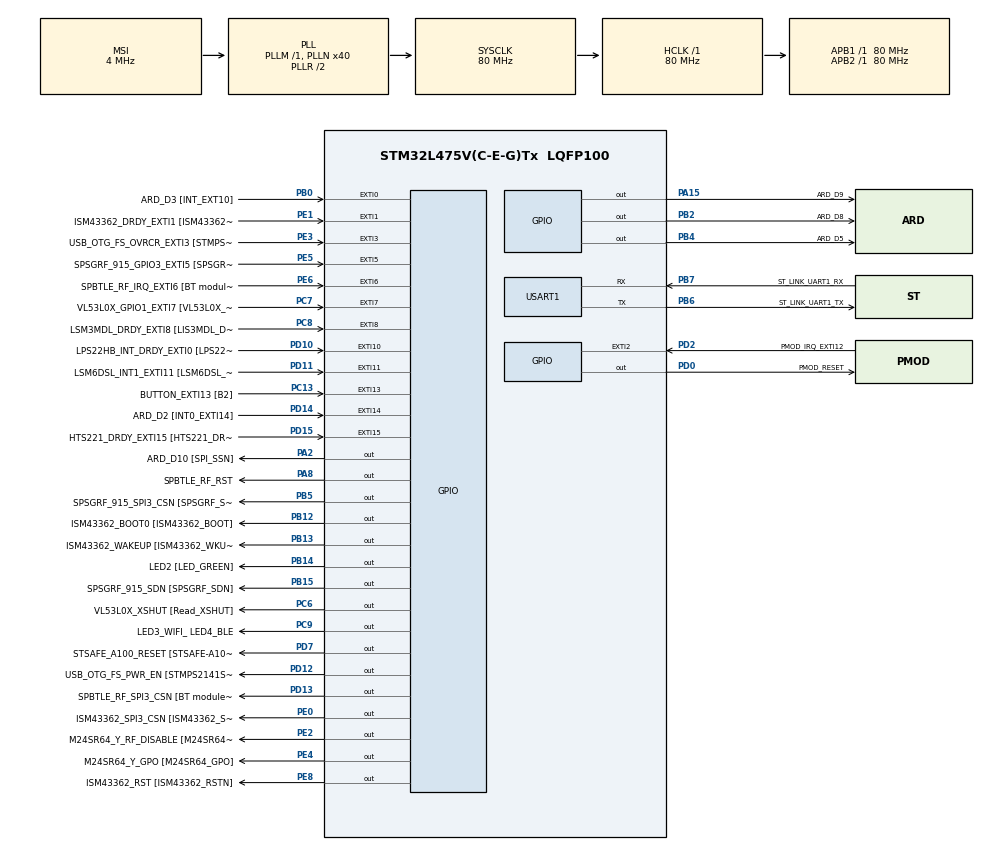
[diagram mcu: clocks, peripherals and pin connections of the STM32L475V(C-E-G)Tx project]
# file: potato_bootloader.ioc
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Mcu.Family=STM32L4
Mcu.Name=STM32L475V(C-E-G)Tx
Mcu.Package=LQFP100
NVIC.EXTI15_10_IRQn=true\:0\:0\:false\:false\:true\:true\:true
NVIC.EXTI9_5_IRQn=true\:0\:0\:false\:false\:true\:true\:true
NVIC.PriorityGroup=NVIC_PRIORITYGROUP_4
PA0.GPIO_Label=ARD_D1 [UART4_TX]
PA0.Signal=UART4_TX
PA1.GPIO_Label=ARD_D0 [UART4_RX]
PA1.Signal=UART4_RX
PA10.GPIO_Label=USB_OTG_FS_ID
PA10.Signal=USB_OTG_FS_ID
PA11.GPIO_Label=USB_OTG_FS_DM
PA11.Signal=USB_OTG_FS_DM
PA12.GPIO_Label=USB_OTG_FS_DP
PA12.Signal=USB_OTG_FS_DP
PA13\ (JTMS-SWDIO).GPIO_Label=SYS_JTMS_SWDIO
PA13\ (JTMS-SWDIO).Signal=SYS_JTMS-SWDIO
PA14\ (JTCK-SWCLK).GPIO_Label=SYS_JTCK_SWCLK
PA14\ (JTCK-SWCLK).Signal=SYS_JTCK-SWCLK
PA15\ (JTDI).GPIO_Label=ARD_D9
PA15\ (JTDI).Signal=GPIO_Output
PA2.GPIO_Label=ARD_D10 [SPI_SSN]
PA2.Signal=GPIO_Output
PA3.GPIO_Label=ARD_D4
PA3.Signal=S_TIM2_CH4
PA4.GPIO_Label=ARD_D7
PA4.Signal=ADCx_IN9
PA5.GPIO_Label=ARD_D13 [SPI1_SCK]
PA5.Signal=SPI1_SCK
PA6.GPIO_Label=ARD_D12 [SPI1_MISO]
PA6.Signal=SPI1_MISO
PA7.GPIO_Label=ARD_D11 [SPI1_MOSI]
PA7.Signal=SPI1_MOSI
PA8.GPIO_Label=SPBTLE_RF_RST
PA8.Signal=GPIO_Output
PA9.GPIO_Label=USB_OTG_FS_VBUS [STMPS2141STR_OUT]
PA9.Signal=USB_OTG_FS_VBUS
PB0.GPIO_Label=ARD_D3 [INT_EXT10]
PB0.Signal=GPXTI0
PB1.GPIO_Label=ARD_D6 [ADC1_IN6]
PB1.Signal=ADCx_IN16
PB10.GPIO_Label=INTERNAL_I2C2_SCL [VL53L0X_SCL]
PB10.Signal=I2C2_SCL
PB11.GPIO_Label=INTERNAL_I2C2_SDA [VL53L0X_SDA]
PB11.Signal=I2C2_SDA
PB12.GPIO_Label=ISM43362_BOOT0 [ISM43362_BOOT]
PB12.Signal=GPIO_Output
PB13.GPIO_Label=ISM43362_WAKEUP [ISM43362_WKUP]
PB13.Signal=GPIO_Output
PB14.GPIO_Label=LED2 [LED_GREEN]
PB14.Signal=GPIO_Output
PB15.GPIO_Label=SPSGRF_915_SDN [SPSGRF_SDN]
PB15.Signal=GPIO_Output
PB2.GPIO_Label=ARD_D8
PB2.Signal=GPIO_Output
PB3\ (JTDO-TRACESWO).GPIO_Label=SYS_JTD0_SWO
PB3\ (JTDO-TRACESWO).Signal=SYS_JTDO-SWO
PB4\ (NJTRST).GPIO_Label=ARD_D5
PB4\ (NJTRST).Signal=GPIO_Output
PB5.GPIO_Label=SPSGRF_915_SPI3_CSN [SPSGRF_SPI_CS]
PB5.PinState=GPIO_PIN_SET
PB5.Signal=GPIO_Output
PB6.GPIO_Label=ST_LINK_UART1_TX
PB6.Mode=Asynchronous
PB6.Signal=USART1_TX
PB7.GPIO_Label=ST_LINK_UART1_RX
PB7.Mode=Asynchronous
PB7.Signal=USART1_RX
PB8.GPIO_Label=ARD_D15 [I2C1_SCL]
PB8.Signal=I2C1_SCL
PB9.GPIO_Label=ARD_D14 [I2C1_SDA]
PB9.Signal=I2C1_SDA
PC0.GPIO_Label=ARD_A5 [ADC]
PC0.Signal=ADCx_IN1
PC1.GPIO_Label=ARD_A4 [ADC]
PC1.Signal=ADCx_IN2
PC10.GPIO_Label=INTERNAL_SPI3_SCK [BT module_SPI_SCLK] [ISM43362_SCK]
PC10.Signal=SPI3_SCK
PC11.GPIO_Label=INTERNAL_SPI3_MISO [BT module_SPI_MISO] [ISM43362_MISO]
PC11.Signal=SPI3_MISO
PC12.GPIO_Label=INTERNAL_SPI3_MOSI [BT module_SPI_MOSI] [ISM43362_MOSI]
PC12.Signal=SPI3_MOSI
PC13.GPIO_Label=BUTTON_EXTI13 [B2]
PC13.GPIO_ModeDefaultEXTI=GPIO_MODE_IT_FALLING
PC13.Signal=GPXTI13
PC14-OSC32_IN\ (PC14).Signal=RCC_OSC32_IN
PC15-OSC32_OUT\ (PC15).Signal=RCC_OSC32_OUT
PC2.GPIO_Label=ARD_A3 [ADC]
PC2.Signal=ADCx_IN3
PC3.GPIO_Label=ARD_A2 [ADC]
PC3.Signal=ADCx_IN4
PC4.GPIO_Label=ARD_A1 [ADC]
PC4.Signal=ADCx_IN13
PC5.GPIO_Label=ARD_A0 [ADC]
PC5.Signal=ADCx_IN14
PC6.GPIO_Label=VL53L0X_XSHUT [Read_XSHUT]
PC6.Signal=GPIO_Output
PC7.GPIO_Label=VL53L0X_GPIO1_EXTI7 [VL53L0X_GPIO1]
PC7.Signal=GPXTI7
PC8.GPIO_Label=LSM3MDL_DRDY_EXTI8 [LIS3MDL_DRDY]
PC8.Signal=GPXTI8
PC9.GPIO_Label=LED3_WIFI_ LED4_BLE
PC9.Signal=GPIO_Output
PD0.GPIO_Label=PMOD_RESET
PD0.Signal=GPIO_Output
PD1.GPIO_Label=PMOD_SPI2_SCK
PD1.Signal=SPI2_SCK
PD10.GPIO_Label=LPS22HB_INT_DRDY_EXTI0 [LPS22HB_INT_DRDY] 
PD10.Signal=GPXTI10
PD11.GPIO_Label=LSM6DSL_INT1_EXTI11 [LSM6DSL_INT1]
PD11.Signal=GPXTI11
PD12.GPIO_Label=USB_OTG_FS_PWR_EN [STMPS2141STR_EN]
PD12.Signal=GPIO_Output
PD13.GPIO_Label=SPBTLE_RF_SPI3_CSN [BT module_SPI_CS]
PD13.PinState=GPIO_PIN_SET
PD13.Signal=GPIO_Output
PD14.GPIO_Label=ARD_D2 [INT0_EXTI14]
PD14.Signal=GPXTI14
PD15.GPIO_Label=HTS221_DRDY_EXTI15 [HTS221_DRDY]
PD15.Signal=GPXTI15
PD2.GPIO_Label=PMOD_IRQ_EXTI12
PD2.Signal=GPXTI2
PD3.GPIO_Label=PMOD_UART2_CTS
PD3.Signal=USART2_CTS
PD4.GPIO_Label=PMOD_UART2_RTS
PD4.Signal=USART2_RTS
PD5.GPIO_Label=PMOD_UART2_TX
PD5.Signal=USART2_TX
PD6.GPIO_Label=PMOD_UART2_RX
PD6.Signal=USART2_RX
PD7.GPIO_Label=STSAFE_A100_RESET [STSAFE-A100_RESET]
PD7.Signal=GPIO_Output
PD8.GPIO_Label=INTERNAL_UART3_TX [ISM43362_RX]
PD8.Signal=USART3_TX
PD9.GPIO_Label=INTERNAL_UART3_RX [ISM43362_TX]
PD9.Signal=USART3_RX
PE0.GPIO_Label=ISM43362_SPI3_CSN [ISM43362_SSN]
PE0.PinState=GPIO_PIN_SET
PE0.Signal=GPIO_Output
PE1.GPIO_Label=ISM43362_DRDY_EXTI1 [ISM43362_DATARDY]
PE1.Signal=GPXTI1
PE10.GPIO_Label=QUADSPI_CLK [MX25R6435F_SCLK]
PE10.Signal=QUADSPI_CLK
PE11.GPIO_Label=QUADSPI_NCS [MX25R6435F_SCLK]
PE11.Signal=QUADSPI_NCS
PE12.GPIO_Label=OQUADSPI_BK1_IO0 [MX25R6435F_IO0]
PE12.Signal=QUADSPI_BK1_IO0
PE13.GPIO_Label=QUADSPI_BK1_IO1 [MX25R6435F_IO1]
PE13.Signal=QUADSPI_BK1_IO1
PE14.GPIO_Label=QUAD_SPI_BK1_IO2 [MX25R6435F_IO2]
PE14.Signal=QUADSPI_BK1_IO2
PE15.GPIO_Label=QUAD_SPI_BK1_IO3 [MX25R6435F_IO3]
PE15.Signal=QUADSPI_BK1_IO3
PE2.GPIO_Label=M24SR64_Y_RF_DISABLE [M24SR64_RFDIS]
PE2.Signal=GPIO_Output
PE3.GPIO_Label=USB_OTG_FS_OVRCR_EXTI3 [STMPS2141STR_FAULT]
PE3.Signal=GPXTI3
PE4.GPIO_Label=M24SR64_Y_GPO [M24SR64_GPO]
PE4.Signal=GPIO_Output
PE5.GPIO_Label=SPSGRF_915_GPIO3_EXTI5 [SPSGRF_GPIO_3]
PE5.Signal=GPXTI5
PE6.GPIO_Label=SPBTLE_RF_IRQ_EXTI6 [BT module_SPI_IRQ]
PE6.Signal=GPXTI6
PE7.GPIO_Label=DFSDM1_DATIN2 [MP34DT01_DOUT]
PE7.Signal=S_DATAIN2DFSDM1
PE8.GPIO_Label=ISM43362_RST [ISM43362_RSTN]
PE8.Signal=GPIO_Output
PE9.GPIO_Label=DFSDM1_CKOUT [MP34DT01_CLK]
PE9.Signal=S_CKOUTDFSDM1
ProjectManager.HeapSize=0x200
ProjectManager.StackSize=0x400
ProjectManager.TargetToolchain=STM32CubeIDE
RCC.ADCFreq_Value=48000000
RCC.AHBFreq_Value=80000000
RCC.APB1Freq_Value=80000000
RCC.APB1TimFreq_Value=80000000
RCC.APB2Freq_Value=80000000
RCC.APB2TimFreq_Value=80000000
RCC.CortexFreq_Value=80000000
RCC.HCLKFreq_Value=80000000
RCC.HSE_VALUE=8000000
RCC.HSI_VALUE=16000000
RCC.LSE_VALUE=32768
RCC.MSI_VALUE=4000000
RCC.PLLN=40
RCC.PLLSAI1N=24
RCC.SYSCLKFreq_VALUE=80000000
RCC.SYSCLKSource=RCC_SYSCLKSOURCE_PLLCLK
RCC.USBFreq_Value=48000000
RCC.VCOOutputFreq_Value=160000000
SH.ADCx_IN1.0=ADC1_IN1
SH.ADCx_IN13.0=ADC1_IN13
SH.ADCx_IN14.0=ADC1_IN14
SH.ADCx_IN16.0=ADC1_IN16
SH.ADCx_IN2.0=ADC1_IN2
SH.ADCx_IN3.0=ADC1_IN3
SH.ADCx_IN4.0=ADC1_IN4
SH.ADCx_IN9.0=ADC1_IN9
SH.S_CKOUTDFSDM1.0=DFSDM1_CKOUT
SH.S_DATAIN2DFSDM1.0=DFSDM1_DATIN2
SH.S_TIM2_CH4.0=TIM2_CH4
USART1.VirtualMode-Asynchronous=VM_ASYNC
board=B-L475E-IOT01A1

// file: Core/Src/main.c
/* USER CODE BEGIN Header */
/**
  ******************************************************************************
  * @file           : main.c
  * @brief          : Main program body
  ******************************************************************************
  * @attention
  *
  * <h2><center>&copy; Copyright (c) 2021 STMicroelectronics.
  * All rights reserved.</center></h2>
  *
  * This software component is licensed by ST under BSD 3-Clause license,
  * the "License"; You may not use this file except in compliance with the
  * License. You may obtain a copy of the License at:
  *                        opensource.org/licenses/BSD-3-Clause
  *
  ******************************************************************************
  */
/* USER CODE END Header */
#include "main.h"

UART_HandleTypeDef huart1;

void SystemClock_Config(void);
static void MX_GPIO_Init(void);
static void MX_USART1_UART_Init(void);

/* USER CODE BEGIN 0 */
#define APPLICATION_ADDRESS_BT (uint32_t) 0x08010000
#define APPLICATION_ADDRESS_N (uint32_t) 0x08020000
typedef void (*fptr)(void);
/* USER CODE END 0 */

int main(void)
{

  /* MCU Configuration--------------------------------------------------------*/

  /* Reset of all peripherals, Initializes the Flash interface and the Systick. */
  HAL_Init();

  /* Configure the system clock */
  SystemClock_Config();

  /* Initialize all configured peripherals */
  MX_GPIO_Init();
  MX_USART1_UART_Init();
  /* USER CODE BEGIN 2 */

  fptr jump_to_app;
  uint32_t jump_addr;

	HAL_UART_Transmit(&huart1, "boot loader start\n", 18, 10);
	HAL_UART_Transmit(&huart1, "3\n", 2, 10);
	HAL_Delay(1000);
	HAL_UART_Transmit(&huart1, "2\n", 2, 10);
	HAL_Delay(1000);
	HAL_UART_Transmit(&huart1, "1\n", 2, 10);
	HAL_Delay(1000);

/* init user app's sp */
	if(!HAL_GPIO_ReadPin(GPIOC, GPIO_PIN_13)){
		jump_addr = *(__IO uint32_t*) (APPLICATION_ADDRESS_BT + 4);
		jump_to_app = (fptr) jump_addr;
	  	HAL_UART_Transmit(&huart1, "BT jump!\n", 9, 10);
	  	__set_MSP(*(__IO uint32_t*) APPLICATION_ADDRESS_BT);
	  	jump_to_app();
	}

	else{
		jump_addr = *(__IO uint32_t*) (APPLICATION_ADDRESS_N + 4);
		jump_to_app = (fptr) jump_addr;
	  	HAL_UART_Transmit(&huart1, "normal jump!\n", 13, 10);
	  	__set_MSP(*(__IO uint32_t*) APPLICATION_ADDRESS_N);
	  	jump_to_app();
	}

  /* USER CODE END 2 */

  /* Infinite loop */
  while (1)
  {

  }
}

void SystemClock_Config(void)
{
  RCC_OscInitTypeDef RCC_OscInitStruct = {0};
  RCC_ClkInitTypeDef RCC_ClkInitStruct = {0};

  /** Configure the main internal regulator output voltage
  */
  if (HAL_PWREx_ControlVoltageScaling(PWR_REGULATOR_VOLTAGE_SCALE1) != HAL_OK)
  {
    Error_Handler();
  }
  /** Initializes the RCC Oscillators according to the specified parameters
  * in the RCC_OscInitTypeDef structure.
  */
  RCC_OscInitStruct.OscillatorType = RCC_OSCILLATORTYPE_MSI;
  RCC_OscInitStruct.MSIState = RCC_MSI_ON;
  RCC_OscInitStruct.MSICalibrationValue = 0;
  RCC_OscInitStruct.MSIClockRange = RCC_MSIRANGE_6;
  RCC_OscInitStruct.PLL.PLLState = RCC_PLL_ON;
  RCC_OscInitStruct.PLL.PLLSource = RCC_PLLSOURCE_MSI;
  RCC_OscInitStruct.PLL.PLLM = 1;
  RCC_OscInitStruct.PLL.PLLN = 40;
  RCC_OscInitStruct.PLL.PLLP = RCC_PLLP_DIV7;
  RCC_OscInitStruct.PLL.PLLQ = RCC_PLLQ_DIV2;
  RCC_OscInitStruct.PLL.PLLR = RCC_PLLR_DIV2;
  if (HAL_RCC_OscConfig(&RCC_OscInitStruct) != HAL_OK)
  {
    Error_Handler();
  }
  /** Initializes the CPU, AHB and APB buses clocks
  */
  RCC_ClkInitStruct.ClockType = RCC_CLOCKTYPE_HCLK|RCC_CLOCKTYPE_SYSCLK
                              |RCC_CLOCKTYPE_PCLK1|RCC_CLOCKTYPE_PCLK2;
  RCC_ClkInitStruct.SYSCLKSource = RCC_SYSCLKSOURCE_PLLCLK;
  RCC_ClkInitStruct.AHBCLKDivider = RCC_SYSCLK_DIV1;
  RCC_ClkInitStruct.APB1CLKDivider = RCC_HCLK_DIV1;
  RCC_ClkInitStruct.APB2CLKDivider = RCC_HCLK_DIV1;

  if (HAL_RCC_ClockConfig(&RCC_ClkInitStruct, FLASH_LATENCY_4) != HAL_OK)
  {
    Error_Handler();
  }
}

static void MX_USART1_UART_Init(void)
{

  huart1.Instance = USART1;
  huart1.Init.BaudRate = 115200;
  huart1.Init.WordLength = UART_WORDLENGTH_8B;
  huart1.Init.StopBits = UART_STOPBITS_1;
  huart1.Init.Parity = UART_PARITY_NONE;
  huart1.Init.Mode = UART_MODE_TX_RX;
  huart1.Init.HwFlowCtl = UART_HWCONTROL_NONE;
  huart1.Init.OverSampling = UART_OVERSAMPLING_16;
  huart1.Init.OneBitSampling = UART_ONE_BIT_SAMPLE_DISABLE;
  huart1.AdvancedInit.AdvFeatureInit = UART_ADVFEATURE_NO_INIT;
  if (HAL_UART_Init(&huart1) != HAL_OK)
  {
    Error_Handler();
  }

}

static void MX_GPIO_Init(void)
{
  GPIO_InitTypeDef GPIO_InitStruct = {0};

  /* GPIO Ports Clock Enable */
  __HAL_RCC_GPIOE_CLK_ENABLE();
  __HAL_RCC_GPIOC_CLK_ENABLE();
  __HAL_RCC_GPIOA_CLK_ENABLE();
  __HAL_RCC_GPIOB_CLK_ENABLE();
  __HAL_RCC_GPIOD_CLK_ENABLE();

  /*Configure GPIO pin Output Level */
  HAL_GPIO_WritePin(GPIOE, M24SR64_Y_RF_DISABLE_Pin|M24SR64_Y_GPO_Pin|ISM43362_RST_Pin, GPIO_PIN_RESET);

  /*Configure GPIO pin Output Level */
  HAL_GPIO_WritePin(GPIOA, ARD_D10_Pin|SPBTLE_RF_RST_Pin|ARD_D9_Pin, GPIO_PIN_RESET);

  /*Configure GPIO pin Output Level */
  HAL_GPIO_WritePin(GPIOB, ARD_D8_Pin|ISM43362_BOOT0_Pin|ISM43362_WAKEUP_Pin|LED2_Pin
                          |SPSGRF_915_SDN_Pin|ARD_D5_Pin, GPIO_PIN_RESET);

  /*Configure GPIO pin Output Level */
  HAL_GPIO_WritePin(GPIOD, USB_OTG_FS_PWR_EN_Pin|PMOD_RESET_Pin|STSAFE_A100_RESET_Pin, GPIO_PIN_RESET);

  /*Configure GPIO pin Output Level */
  HAL_GPIO_WritePin(SPBTLE_RF_SPI3_CSN_GPIO_Port, SPBTLE_RF_SPI3_CSN_Pin, GPIO_PIN_SET);

  /*Configure GPIO pin Output Level */
  HAL_GPIO_WritePin(GPIOC, VL53L0X_XSHUT_Pin|LED3_WIFI__LED4_BLE_Pin, GPIO_PIN_RESET);

  /*Configure GPIO pin Output Level */
  HAL_GPIO_WritePin(SPSGRF_915_SPI3_CSN_GPIO_Port, SPSGRF_915_SPI3_CSN_Pin, GPIO_PIN_SET);

  /*Configure GPIO pin Output Level */
  HAL_GPIO_WritePin(ISM43362_SPI3_CSN_GPIO_Port, ISM43362_SPI3_CSN_Pin, GPIO_PIN_SET);

  /*Configure GPIO pins : M24SR64_Y_RF_DISABLE_Pin M24SR64_Y_GPO_Pin ISM43362_RST_Pin ISM43362_SPI3_CSN_Pin */
  GPIO_InitStruct.Pin = M24SR64_Y_RF_DISABLE_Pin|M24SR64_Y_GPO_Pin|ISM43362_RST_Pin|ISM43362_SPI3_CSN_Pin;
  GPIO_InitStruct.Mode = GPIO_MODE_OUTPUT_PP;
  GPIO_InitStruct.Pull = GPIO_NOPULL;
  GPIO_InitStruct.Speed = GPIO_SPEED_FREQ_LOW;
  HAL_GPIO_Init(GPIOE, &GPIO_InitStruct);

  /*Configure GPIO pins : USB_OTG_FS_OVRCR_EXTI3_Pin SPSGRF_915_GPIO3_EXTI5_Pin SPBTLE_RF_IRQ_EXTI6_Pin ISM43362_DRDY_EXTI1_Pin */
  GPIO_InitStruct.Pin = USB_OTG_FS_OVRCR_EXTI3_Pin|SPSGRF_915_GPIO3_EXTI5_Pin|SPBTLE_RF_IRQ_EXTI6_Pin|ISM43362_DRDY_EXTI1_Pin;
  GPIO_InitStruct.Mode = GPIO_MODE_IT_RISING;
  GPIO_InitStruct.Pull = GPIO_NOPULL;
  HAL_GPIO_Init(GPIOE, &GPIO_InitStruct);

  /*Configure GPIO pin : BUTTON_EXTI13_Pin */
  GPIO_InitStruct.Pin = BUTTON_EXTI13_Pin;
  GPIO_InitStruct.Mode = GPIO_MODE_IT_FALLING;
  GPIO_InitStruct.Pull = GPIO_NOPULL;
  HAL_GPIO_Init(BUTTON_EXTI13_GPIO_Port, &GPIO_InitStruct);

  /*Configure GPIO pins : ARD_A5_Pin ARD_A4_Pin ARD_A3_Pin ARD_A2_Pin
                           ARD_A1_Pin ARD_A0_Pin */
  GPIO_InitStruct.Pin = ARD_A5_Pin|ARD_A4_Pin|ARD_A3_Pin|ARD_A2_Pin
                          |ARD_A1_Pin|ARD_A0_Pin;
  GPIO_InitStruct.Mode = GPIO_MODE_ANALOG_ADC_CONTROL;
  GPIO_InitStruct.Pull = GPIO_NOPULL;
  HAL_GPIO_Init(GPIOC, &GPIO_InitStruct);

  /*Configure GPIO pins : ARD_D1_Pin ARD_D0_Pin */
  GPIO_InitStruct.Pin = ARD_D1_Pin|ARD_D0_Pin;
  GPIO_InitStruct.Mode = GPIO_MODE_AF_PP;
  GPIO_InitStruct.Pull = GPIO_NOPULL;
  GPIO_InitStruct.Speed = GPIO_SPEED_FREQ_VERY_HIGH;
  GPIO_InitStruct.Alternate = GPIO_AF8_UART4;
  HAL_GPIO_Init(GPIOA, &GPIO_InitStruct);

  /*Configure GPIO pins : ARD_D10_Pin SPBTLE_RF_RST_Pin ARD_D9_Pin */
  GPIO_InitStruct.Pin = ARD_D10_Pin|SPBTLE_RF_RST_Pin|ARD_D9_Pin;
  GPIO_InitStruct.Mode = GPIO_MODE_OUTPUT_PP;
  GPIO_InitStruct.Pull = GPIO_NOPULL;
  GPIO_InitStruct.Speed = GPIO_SPEED_FREQ_LOW;
  HAL_GPIO_Init(GPIOA, &GPIO_InitStruct);

  /*Configure GPIO pin : ARD_D4_Pin */
  GPIO_InitStruct.Pin = ARD_D4_Pin;
  GPIO_InitStruct.Mode = GPIO_MODE_AF_PP;
  GPIO_InitStruct.Pull = GPIO_NOPULL;
  GPIO_InitStruct.Speed = GPIO_SPEED_FREQ_LOW;
  GPIO_InitStruct.Alternate = GPIO_AF1_TIM2;
  HAL_GPIO_Init(ARD_D4_GPIO_Port, &GPIO_InitStruct);

  /*Configure GPIO pin : ARD_D7_Pin */
  GPIO_InitStruct.Pin = ARD_D7_Pin;
  GPIO_InitStruct.Mode = GPIO_MODE_ANALOG_ADC_CONTROL;
  GPIO_InitStruct.Pull = GPIO_NOPULL;
  HAL_GPIO_Init(ARD_D7_GPIO_Port, &GPIO_InitStruct);

  /*Configure GPIO pins : ARD_D13_Pin ARD_D12_Pin ARD_D11_Pin */
  GPIO_InitStruct.Pin = ARD_D13_Pin|ARD_D12_Pin|ARD_D11_Pin;
  GPIO_InitStruct.Mode = GPIO_MODE_AF_PP;
  GPIO_InitStruct.Pull = GPIO_NOPULL;
  GPIO_InitStruct.Speed = GPIO_SPEED_FREQ_VERY_HIGH;
  GPIO_InitStruct.Alternate = GPIO_AF5_SPI1;
  HAL_GPIO_Init(GPIOA, &GPIO_InitStruct);

  /*Configure GPIO pin : ARD_D3_Pin */
  GPIO_InitStruct.Pin = ARD_D3_Pin;
  GPIO_InitStruct.Mode = GPIO_MODE_IT_RISING;
  GPIO_InitStruct.Pull = GPIO_NOPULL;
  HAL_GPIO_Init(ARD_D3_GPIO_Port, &GPIO_InitStruct);

  /*Configure GPIO pin : ARD_D6_Pin */
  GPIO_InitStruct.Pin = ARD_D6_Pin;
  GPIO_InitStruct.Mode = GPIO_MODE_ANALOG_ADC_CONTROL;
  GPIO_InitStruct.Pull = GPIO_NOPULL;
  HAL_GPIO_Init(ARD_D6_GPIO_Port, &GPIO_InitStruct);

  /*Configure GPIO pins : ARD_D8_Pin ISM43362_BOOT0_Pin ISM43362_WAKEUP_Pin LED2_Pin
                           SPSGRF_915_SDN_Pin ARD_D5_Pin SPSGRF_915_SPI3_CSN_Pin */
  GPIO_InitStruct.Pin = ARD_D8_Pin|ISM43362_BOOT0_Pin|ISM43362_WAKEUP_Pin|LED2_Pin
                          |SPSGRF_915_SDN_Pin|ARD_D5_Pin|SPSGRF_915_SPI3_CSN_Pin;
  GPIO_InitStruct.Mode = GPIO_MODE_OUTPUT_PP;
  GPIO_InitStruct.Pull = GPIO_NOPULL;
  GPIO_InitStruct.Speed = GPIO_SPEED_FREQ_LOW;
  HAL_GPIO_Init(GPIOB, &GPIO_InitStruct);

  /*Configure GPIO pins : DFSDM1_DATIN2_Pin DFSDM1_CKOUT_Pin */
  GPIO_InitStruct.Pin = DFSDM1_DATIN2_Pin|DFSDM1_CKOUT_Pin;
  GPIO_InitStruct.Mode = GPIO_MODE_AF_PP;
  GPIO_InitStruct.Pull = GPIO_NOPULL;
  GPIO_InitStruct.Speed = GPIO_SPEED_FREQ_LOW;
  GPIO_InitStruct.Alternate = GPIO_AF6_DFSDM1;
  HAL_GPIO_Init(GPIOE, &GPIO_InitStruct);

  /*Configure GPIO pins : QUADSPI_CLK_Pin QUADSPI_NCS_Pin OQUADSPI_BK1_IO0_Pin QUADSPI_BK1_IO1_Pin
                           QUAD_SPI_BK1_IO2_Pin QUAD_SPI_BK1_IO3_Pin */
  GPIO_InitStruct.Pin = QUADSPI_CLK_Pin|QUADSPI_NCS_Pin|OQUADSPI_BK1_IO0_Pin|QUADSPI_BK1_IO1_Pin
                          |QUAD_SPI_BK1_IO2_Pin|QUAD_SPI_BK1_IO3_Pin;
  GPIO_InitStruct.Mode = GPIO_MODE_AF_PP;
  GPIO_InitStruct.Pull = GPIO_NOPULL;
  GPIO_InitStruct.Speed = GPIO_SPEED_FREQ_VERY_HIGH;
  GPIO_InitStruct.Alternate = GPIO_AF10_QUADSPI;
  HAL_GPIO_Init(GPIOE, &GPIO_InitStruct);

  /*Configure GPIO pins : INTERNAL_I2C2_SCL_Pin INTERNAL_I2C2_SDA_Pin */
  GPIO_InitStruct.Pin = INTERNAL_I2C2_SCL_Pin|INTERNAL_I2C2_SDA_Pin;
  GPIO_InitStruct.Mode = GPIO_MODE_AF_OD;
  GPIO_InitStruct.Pull = GPIO_NOPULL;
  GPIO_InitStruct.Speed = GPIO_SPEED_FREQ_VERY_HIGH;
  GPIO_InitStruct.Alternate = GPIO_AF4_I2C2;
  HAL_GPIO_Init(GPIOB, &GPIO_InitStruct);

  /*Configure GPIO pins : INTERNAL_UART3_TX_Pin INTERNAL_UART3_RX_Pin */
  GPIO_InitStruct.Pin = INTERNAL_UART3_TX_Pin|INTERNAL_UART3_RX_Pin;
  GPIO_InitStruct.Mode = GPIO_MODE_AF_PP;
  GPIO_InitStruct.Pull = GPIO_NOPULL;
  GPIO_InitStruct.Speed = GPIO_SPEED_FREQ_VERY_HIGH;
  GPIO_InitStruct.Alternate = GPIO_AF7_USART3;
  HAL_GPIO_Init(GPIOD, &GPIO_InitStruct);

  /*Configure GPIO pins : LPS22HB_INT_DRDY_EXTI0_Pin LSM6DSL_INT1_EXTI11_Pin ARD_D2_Pin HTS221_DRDY_EXTI15_Pin
                           PMOD_IRQ_EXTI12_Pin */
  GPIO_InitStruct.Pin = LPS22HB_INT_DRDY_EXTI0_Pin|LSM6DSL_INT1_EXTI11_Pin|ARD_D2_Pin|HTS221_DRDY_EXTI15_Pin
                          |PMOD_IRQ_EXTI12_Pin;
  GPIO_InitStruct.Mode = GPIO_MODE_IT_RISING;
  GPIO_InitStruct.Pull = GPIO_NOPULL;
  HAL_GPIO_Init(GPIOD, &GPIO_InitStruct);

  /*Configure GPIO pins : USB_OTG_FS_PWR_EN_Pin SPBTLE_RF_SPI3_CSN_Pin PMOD_RESET_Pin STSAFE_A100_RESET_Pin */
  GPIO_InitStruct.Pin = USB_OTG_FS_PWR_EN_Pin|SPBTLE_RF_SPI3_CSN_Pin|PMOD_RESET_Pin|STSAFE_A100_RESET_Pin;
  GPIO_InitStruct.Mode = GPIO_MODE_OUTPUT_PP;
  GPIO_InitStruct.Pull = GPIO_NOPULL;
  GPIO_InitStruct.Speed = GPIO_SPEED_FREQ_LOW;
  HAL_GPIO_Init(GPIOD, &GPIO_InitStruct);

  /*Configure GPIO pins : VL53L0X_XSHUT_Pin LED3_WIFI__LED4_BLE_Pin */
  GPIO_InitStruct.Pin = VL53L0X_XSHUT_Pin|LED3_WIFI__LED4_BLE_Pin;
  GPIO_InitStruct.Mode = GPIO_MODE_OUTPUT_PP;
  GPIO_InitStruct.Pull = GPIO_NOPULL;
  GPIO_InitStruct.Speed = GPIO_SPEED_FREQ_LOW;
  HAL_GPIO_Init(GPIOC, &GPIO_InitStruct);

  /*Configure GPIO pins : VL53L0X_GPIO1_EXTI7_Pin LSM3MDL_DRDY_EXTI8_Pin */
  GPIO_InitStruct.Pin = VL53L0X_GPIO1_EXTI7_Pin|LSM3MDL_DRDY_EXTI8_Pin;
  GPIO_InitStruct.Mode = GPIO_MODE_IT_RISING;
  GPIO_InitStruct.Pull = GPIO_NOPULL;
  HAL_GPIO_Init(GPIOC, &GPIO_InitStruct);

  /*Configure GPIO pin : USB_OTG_FS_VBUS_Pin */
  GPIO_InitStruct.Pin = USB_OTG_FS_VBUS_Pin;
  GPIO_InitStruct.Mode = GPIO_MODE_INPUT;
  GPIO_InitStruct.Pull = GPIO_NOPULL;
  HAL_GPIO_Init(USB_OTG_FS_VBUS_GPIO_Port, &GPIO_InitStruct);

  /*Configure GPIO pins : USB_OTG_FS_ID_Pin USB_OTG_FS_DM_Pin USB_OTG_FS_DP_Pin */
  GPIO_InitStruct.Pin = USB_OTG_FS_ID_Pin|USB_OTG_FS_DM_Pin|USB_OTG_FS_DP_Pin;
  GPIO_InitStruct.Mode = GPIO_MODE_AF_PP;
  GPIO_InitStruct.Pull = GPIO_NOPULL;
  GPIO_InitStruct.Speed = GPIO_SPEED_FREQ_VERY_HIGH;
  GPIO_InitStruct.Alternate = GPIO_AF10_OTG_FS;
  HAL_GPIO_Init(GPIOA, &GPIO_InitStruct);

  /*Configure GPIO pins : INTERNAL_SPI3_SCK_Pin INTERNAL_SPI3_MISO_Pin INTERNAL_SPI3_MOSI_Pin */
  GPIO_InitStruct.Pin = INTERNAL_SPI3_SCK_Pin|INTERNAL_SPI3_MISO_Pin|INTERNAL_SPI3_MOSI_Pin;
  GPIO_InitStruct.Mode = GPIO_MODE_AF_PP;
  GPIO_InitStruct.Pull = GPIO_NOPULL;
  GPIO_InitStruct.Speed = GPIO_SPEED_FREQ_VERY_HIGH;
  GPIO_InitStruct.Alternate = GPIO_AF6_SPI3;
  HAL_GPIO_Init(GPIOC, &GPIO_InitStruct);

  /*Configure GPIO pin : PMOD_SPI2_SCK_Pin */
  GPIO_InitStruct.Pin = PMOD_SPI2_SCK_Pin;
  GPIO_InitStruct.Mode = GPIO_MODE_AF_PP;
  GPIO_InitStruct.Pull = GPIO_NOPULL;
  GPIO_InitStruct.Speed = GPIO_SPEED_FREQ_VERY_HIGH;
  GPIO_InitStruct.Alternate = GPIO_AF5_SPI2;
  HAL_GPIO_Init(PMOD_SPI2_SCK_GPIO_Port, &GPIO_InitStruct);

  /*Configure GPIO pins : PMOD_UART2_CTS_Pin PMOD_UART2_RTS_Pin PMOD_UART2_TX_Pin PMOD_UART2_RX_Pin */
  GPIO_InitStruct.Pin = PMOD_UART2_CTS_Pin|PMOD_UART2_RTS_Pin|PMOD_UART2_TX_Pin|PMOD_UART2_RX_Pin;
  GPIO_InitStruct.Mode = GPIO_MODE_AF_PP;
  GPIO_InitStruct.Pull = GPIO_NOPULL;
  GPIO_InitStruct.Speed = GPIO_SPEED_FREQ_VERY_HIGH;
  GPIO_InitStruct.Alternate = GPIO_AF7_USART2;
  HAL_GPIO_Init(GPIOD, &GPIO_InitStruct);

  /*Configure GPIO pins : ARD_D15_Pin ARD_D14_Pin */
  GPIO_InitStruct.Pin = ARD_D15_Pin|ARD_D14_Pin;
  GPIO_InitStruct.Mode = GPIO_MODE_AF_OD;
  GPIO_InitStruct.Pull = GPIO_NOPULL;
  GPIO_InitStruct.Speed = GPIO_SPEED_FREQ_VERY_HIGH;
  GPIO_InitStruct.Alternate = GPIO_AF4_I2C1;
  HAL_GPIO_Init(GPIOB, &GPIO_InitStruct);

  /* EXTI interrupt init*/
  HAL_NVIC_SetPriority(EXTI9_5_IRQn, 0, 0);
  HAL_NVIC_EnableIRQ(EXTI9_5_IRQn);

  HAL_NVIC_SetPriority(EXTI15_10_IRQn, 0, 0);
  HAL_NVIC_EnableIRQ(EXTI15_10_IRQn);

}

void Error_Handler(void)
{
  __disable_irq();
  while (1)
  {
  }
}

/************************ (C) COPYRIGHT STMicroelectronics *****END OF FILE****/
